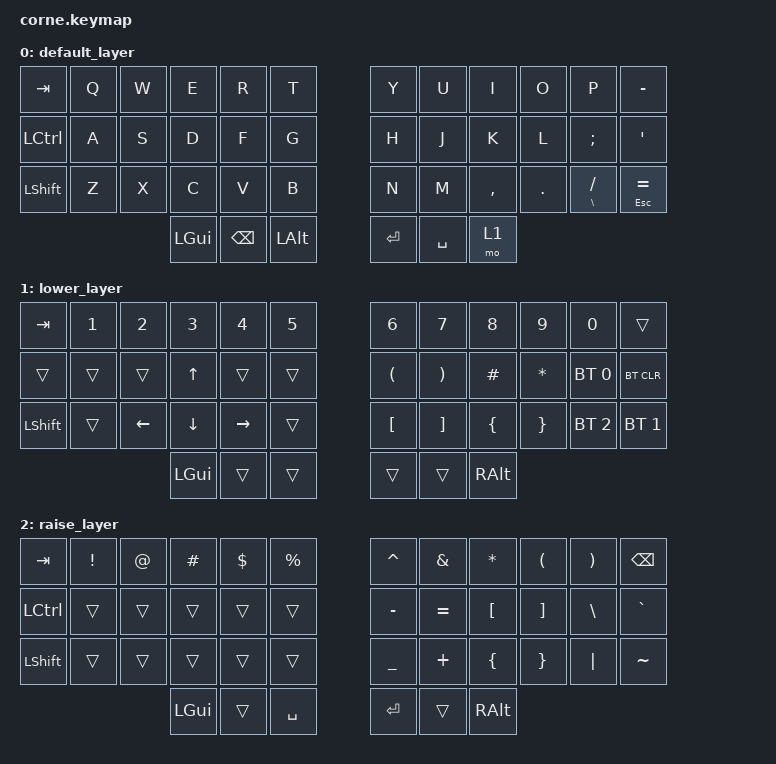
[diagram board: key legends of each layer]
/*
 * Copyright (c) 2020 The ZMK Contributors
 *
 * SPDX-License-Identifier: MIT
 */

#include <behaviors.dtsi>
#include <dt-bindings/zmk/bt.h>
#include <dt-bindings/zmk/keys.h>

/ {
    behaviors {
        hml: home_row_mod_left {
            compatible = "zmk,behavior-hold-tap";
            label = "HOME_ROW_MOD_LEFT";
            bindings = <&kp>, <&kp>;

            #binding-cells = <2>;
            tapping-term-ms = <400>;
            hold-trigger-key-positions = <0 1 2 3 4 5 12 13 14 15 16 17 24 25 26 27 28 29 36 37 38>;
        };

        hmr: home_row_mod_right {
            compatible = "zmk,behavior-hold-tap";
            label = "HOME_ROW_MOD_RIGHT";
            bindings = <&kp>, <&kp>;

            #binding-cells = <2>;
            tapping-term-ms = <400>;
            hold-trigger-key-positions = <18 6 7 8 9 10 11 18 19 20 21 22 23 30 31 32 33 34 35 39 40 41>;
        };

        lht: layer_hold_tap {
            compatible = "zmk,behavior-hold-tap";
            label = "LAYER_HOLD_TAP";
            bindings = <&to>, <&mo>;

            #binding-cells = <2>;
            tapping-term-ms = <200>;
        };
    };

    keymap {
        compatible = "zmk,keymap";

        default_layer {
            // -----------------------------------------------------------------------------------------
            // |  TAB |  Q  |  W  |  E  |  R  |  T  |   |  Y  |  U   |  I  |  O  |  P  | BKSP |
            // | CTRL |  A  |  S  |  D  |  F  |  G  |   |  H  |  J   |  K  |  L  |  ;  |  '   |
            // | SHFT |  Z  |  X  |  C  |  V  |  B  |   |  N  |  M   |  ,  |  .  |  /  | ESC  |
            //                    | GUI | LWR | SPC |   | ENT | RSE  | ALT |

            bindings = <
&kp TAB         &kp Q  &kp W  &kp E     &kp R          &kp T           &kp Y    &kp U      &kp I      &kp O    &kp P                &kp MINUS
&kp LCTRL       &kp A  &kp S  &kp D     &kp F          &kp G           &kp H    &kp J      &kp K      &kp L    &kp SEMICOLON        &kp SQT
&kp LEFT_SHIFT  &kp Z  &kp X  &kp C     &kp V          &kp B           &kp N    &kp M      &kp COMMA  &kp DOT  &hmr BACKSLASH FSLH  &hmr ESC EQUAL
                              &kp LGUI  &kp BACKSPACE  &kp LEFT_ALT    &kp RET  &kp SPACE  &mo 1
            >;
        };

        lower_layer {
            // -----------------------------------------------------------------------------------------
            // |  TAB |  1  |  2  |  3  |  4  |  5  |   |  6  |  7  |  8  |  9  |  0  | BKSP |
            // | BTCLR| BT1 | BT2 | BT3 | BT4 | BT5 |   | LFT | DWN |  UP | RGT |     |      |
            // | SHFT |     |     |     |     |     |   |     |     |     |     |     |      |
            //                    | GUI |     | SPC |   | ENT |     | ALT |

            bindings = <
&kp TAB    &kp N1  &kp N2    &kp N3        &kp N4     &kp N5    &kp N6                &kp N7                 &kp N8          &kp N9           &kp N0        &trans
&trans     &trans  &trans    &kp UP_ARROW  &trans     &trans    &kp LEFT_PARENTHESIS  &kp RIGHT_PARENTHESIS  &kp HASH        &kp ASTERISK     &bt BT_SEL 0  &bt BT_CLR
&kp LSHFT  &trans  &kp LEFT  &kp DOWN      &kp RIGHT  &trans    &kp LEFT_BRACKET      &kp RIGHT_BRACKET      &kp LEFT_BRACE  &kp RIGHT_BRACE  &bt BT_SEL 2  &bt BT_SEL 1
                             &kp LGUI      &trans     &trans    &trans                &trans                 &kp RALT
            >;
        };

        raise_layer {
            // -----------------------------------------------------------------------------------------
            // |  TAB |  !  |  @  |  #  |  $  |  %  |   |  ^  |  &  |  *  |  (  |  )  | BKSP |
            // | CTRL |     |     |     |     |     |   |  -  |  =  |  [  |  ]  |  \  |  `   |
            // | SHFT |     |     |     |     |     |   |  _  |  +  |  {  |  }  | "|" |  ~   |
            //                    | GUI |     | SPC |   | ENT |     | ALT |

            bindings = <
&kp TAB    &kp EXCL  &kp AT  &kp HASH  &kp DLLR  &kp PRCNT    &kp CARET  &kp AMPS   &kp ASTRK  &kp LPAR  &kp RPAR  &kp BSPC
&kp LCTRL  &trans    &trans  &trans    &trans    &trans       &kp MINUS  &kp EQUAL  &kp LBKT   &kp RBKT  &kp BSLH  &kp GRAVE
&kp LSHFT  &trans    &trans  &trans    &trans    &trans       &kp UNDER  &kp PLUS   &kp LBRC   &kp RBRC  &kp PIPE  &kp TILDE
                             &kp LGUI  &trans    &kp SPACE    &kp RET    &trans     &kp RALT
            >;
        };
    };
};
